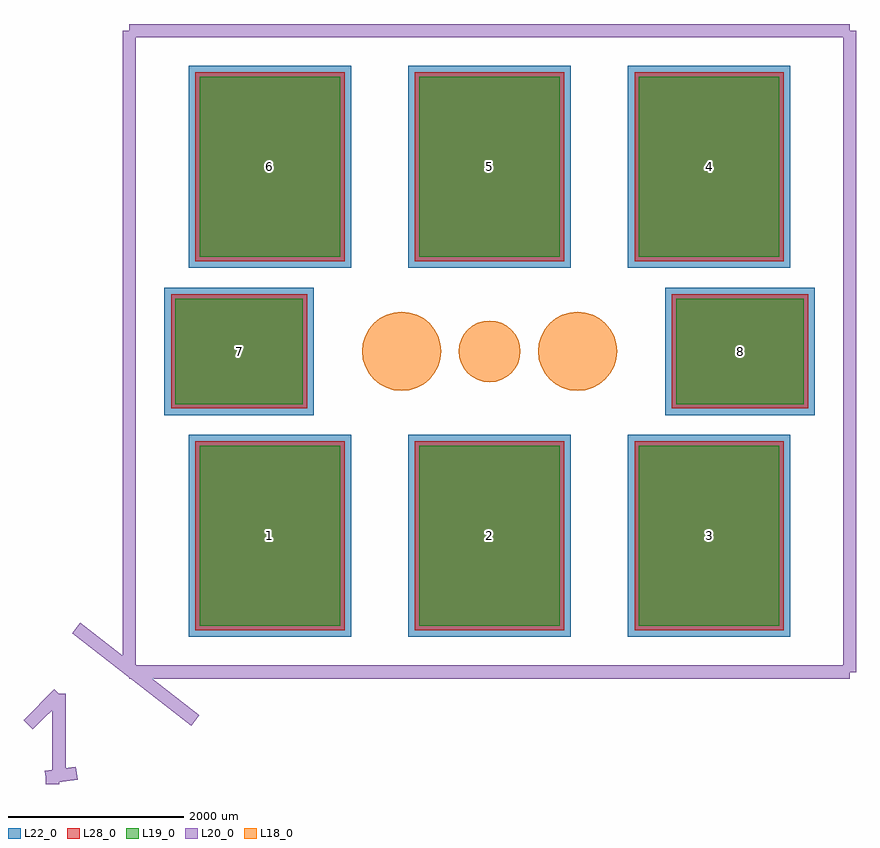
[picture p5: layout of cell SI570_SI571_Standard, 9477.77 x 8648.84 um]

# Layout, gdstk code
import gdstk
lib = gdstk.Library(unit=1e-6, precision=1e-09)
def R(c, l, rs):  # rectangles x0, y0, x1, y1
    for r in rs: c.add(gdstk.rectangle(r[:2], r[2:], *l))
def A(c, l, x, y, w, h, nx, ny, dx, dy):  # array of equal rectangles
    R(c, l, [(x+i*dx, y+j*dy, x+i*dx+w, y+j*dy+h) for i in range(nx) for j in range(ny)])
def P(c, l, *ps):  # polygons
    for p in ps: c.add(gdstk.Polygon(p, *l))
L18_0 = (18, 0)
L19_0 = (19, 0)
L20_0 = (20, 0)
L22_0 = (22, 0)
L28_0 = (28, 0)

si570_si571_standard = lib.new_cell('SI570_SI571_Standard')
P(si570_si571_standard, L18_0, [(-850.9,0),(-853.78,29.236),(-862.307,57.349),(-876.156,83.258),(-894.793,105.967),(-917.502,124.604),(-943.411,138.453),(-971.524,146.98),(-1000.76,149.86),(-1029.996,146.98),(-1058.109,138.453),(-1084.018,124.604),(-1106.727,105.967),(-1125.364,83.258),(-1139.213,57.349),(-1147.74,29.236),(-1150.62,0),(-1147.74,-29.236),(-1139.213,-57.349),(-1125.364,-83.258),(-1106.727,-105.967),(-1084.018,-124.604),(-1058.109,-138.453),(-1029.996,-146.98),(-1000.76,-149.86),(-971.524,-146.98),(-943.411,-138.453),(-917.502,-124.604),(-894.793,-105.967),(-876.156,-83.258),(-862.307,-57.349),(-853.78,-29.236)],
  [(1150.62,0),(1147.74,29.236),(1139.213,57.349),(1125.364,83.258),(1106.727,105.967),(1084.018,124.604),(1058.109,138.453),(1029.996,146.98),(1000.76,149.86),(971.524,146.98),(943.411,138.453),(917.502,124.604),(894.793,105.967),(876.156,83.258),(862.307,57.349),(853.78,29.236),(850.9,0),(853.78,-29.236),(862.307,-57.349),(876.156,-83.258),(894.793,-105.967),(917.502,-124.604),(943.411,-138.453),(971.524,-146.98),(1000.76,-149.86),(1029.996,-146.98),(1058.109,-138.453),(1084.018,-124.604),(1106.727,-105.967),(1125.364,-83.258),(1139.213,-57.349),(1147.74,-29.236)],
  [(1450.34,0),(1441.701,87.709),(1416.118,172.047),(1374.572,249.773),(1318.661,317.901),(1250.533,373.812),(1172.807,415.358),(1088.469,440.941),(1000.76,449.58),(913.051,440.941),(828.713,415.358),(750.987,373.812),(682.859,317.901),(626.948,249.773),(585.402,172.047),(559.819,87.709),(551.18,0),(559.819,-87.709),(585.402,-172.047),(626.948,-249.773),(682.859,-317.901),(750.987,-373.812),(828.713,-415.358),(913.051,-440.941),(1000.76,-449.58),(1088.469,-440.941),(1172.807,-415.358),(1250.533,-373.812),(1318.661,-317.901),(1374.572,-249.773),(1416.118,-172.047),(1441.701,-87.709)],
  [(-551.18,0),(-559.819,87.709),(-585.402,172.047),(-626.948,249.773),(-682.859,317.901),(-750.987,373.812),(-828.713,415.358),(-913.051,440.941),(-1000.76,449.58),(-1088.469,440.941),(-1172.807,415.358),(-1250.533,373.812),(-1318.661,317.901),(-1374.572,249.773),(-1416.118,172.047),(-1441.701,87.709),(-1450.34,0),(-1441.701,-87.709),(-1416.118,-172.047),(-1374.572,-249.773),(-1318.661,-317.901),(-1250.533,-373.812),(-1172.807,-415.358),(-1088.469,-440.941),(-1000.76,-449.58),(-913.051,-440.941),(-828.713,-415.358),(-750.987,-373.812),(-682.859,-317.901),(-626.948,-249.773),(-585.402,-172.047),(-559.819,-87.709)],
  [(149.86,0),(146.98,29.236),(138.453,57.349),(124.604,83.258),(105.967,105.967),(83.258,124.604),(57.349,138.453),(29.236,146.98),(0,149.86),(-29.236,146.98),(-57.349,138.453),(-83.258,124.604),(-105.967,105.967),(-124.604,83.258),(-138.453,57.349),(-146.98,29.236),(-149.86,0),(-146.98,-29.236),(-138.453,-57.349),(-124.604,-83.258),(-105.967,-105.967),(-83.258,-124.604),(-57.349,-138.453),(-29.236,-146.98),(0,-149.86),(29.236,-146.98),(57.349,-138.453),(83.258,-124.604),(105.967,-105.967),(124.604,-83.258),(138.453,-57.349),(146.98,-29.236)],
  [(350.52,0),(343.785,68.383),(323.838,134.138),(291.447,194.738),(247.855,247.855),(194.738,291.447),(134.138,323.838),(68.383,343.785),(0,350.52),(-68.383,343.785),(-134.138,323.838),(-194.738,291.447),(-247.855,247.855),(-291.447,194.738),(-323.838,134.138),(-343.785,68.383),(-350.52,0),(-343.785,-68.383),(-323.838,-134.138),(-291.447,-194.738),(-247.855,-247.855),(-194.738,-291.447),(-134.138,-323.838),(-68.383,-343.785),(0,-350.52),(68.383,-343.785),(134.138,-323.838),(194.738,-291.447),(247.855,-247.855),(291.447,-194.738),(323.838,-134.138),(343.785,-68.383)])
A(si570_si571_standard, L19_0, -3298.99, -3125, 1599.26, 2048.84, 3, 2, 2499.36, 4201.16)
R(si570_si571_standard, L19_0, [(-3574.58,-600.24,-2125.18,600.24), (2125.18,-600.24,3574.58,600.24)])
A(si570_si571_standard, L22_0, -3423.99, -3250, 1849.26, 2298.84, 3, 2, 2499.36, 4201.16)
R(si570_si571_standard, L22_0, [(-3699.58,-725.24,-2000.18,725.24), (2000.18,-725.24,3699.58,725.24)])
A(si570_si571_standard, L28_0, -3348.99, -3175, 1699.26, 2148.84, 3, 2, 2499.36, 4201.16)
R(si570_si571_standard, L28_0, [(-3624.58,-650.24,-2075.18,650.24), (2075.18,-650.24,3624.58,650.24)])
si570_si571_standard.add(gdstk.FlexPath([(4099.56,-3649.98),(4099.56,3649.98)], 149.998, ends="flush", simple_path=True, layer=20, datatype=0))  # L20_0
si570_si571_standard.add(gdstk.FlexPath([(-4099.56,-3649.98),(4099.56,-3649.98)], 149.998, ends="flush", simple_path=True, layer=20, datatype=0))  # L20_0
si570_si571_standard.add(gdstk.FlexPath([(-4099.56,3649.98),(-4099.56,-3649.98)], 149.998, ends="flush", simple_path=True, layer=20, datatype=0))  # L20_0
si570_si571_standard.add(gdstk.FlexPath([(4099.56,3649.98),(-4099.56,3649.98)], 149.998, ends="flush", simple_path=True, layer=20, datatype=0))  # L20_0
si570_si571_standard.add(gdstk.FlexPath([(-4701.54,-3149.6),(-3350.26,-4201.16)], 149.998, ends="flush", simple_path=True, layer=20, datatype=0))  # L20_0
si570_si571_standard.add(gdstk.FlexPath([(-5049.52,-4848.86),(-4699,-4800.6)], 149.998, ends="flush", simple_path=True, layer=20, datatype=0))  # L20_0
si570_si571_standard.add(gdstk.FlexPath([(-4899.66,-4848.86),(-5049.52,-4848.86)], 149.998, ends="flush", simple_path=True, layer=20, datatype=0))  # L20_0
si570_si571_standard.add(gdstk.FlexPath([(-4899.66,-3898.9),(-4899.66,-4848.86)], 149.998, ends="flush", simple_path=True, layer=20, datatype=0))  # L20_0
si570_si571_standard.add(gdstk.FlexPath([(-5250.18,-4249.42),(-4899.66,-3898.9)], 149.998, ends="flush", simple_path=True, layer=20, datatype=0))  # L20_0
si570_si571_standard.add(gdstk.Label('8', (2849.88,0), layer=28, texttype=0))
si570_si571_standard.add(gdstk.Label('7', (-2849.88,0), layer=28, texttype=0))
si570_si571_standard.add(gdstk.Label('6', (-2499.36,2100.58), layer=28, texttype=0))
si570_si571_standard.add(gdstk.Label('5', (0,2100.58), layer=28, texttype=0))
si570_si571_standard.add(gdstk.Label('4', (2499.36,2100.58), layer=28, texttype=0))
si570_si571_standard.add(gdstk.Label('3', (2499.36,-2100.58), layer=28, texttype=0))
si570_si571_standard.add(gdstk.Label('2', (0,-2100.58), layer=28, texttype=0))
si570_si571_standard.add(gdstk.Label('1', (-2499.36,-2100.58), layer=28, texttype=0))
si570_si571_standard.add(gdstk.Label('type', (50.8,-6101.08), layer=9, texttype=0))
si570_si571_standard.add(gdstk.Label('devicename', (0,5600.7), layer=9, texttype=0))

lib.write_gds('SI570_SI571_Standard.gds')
